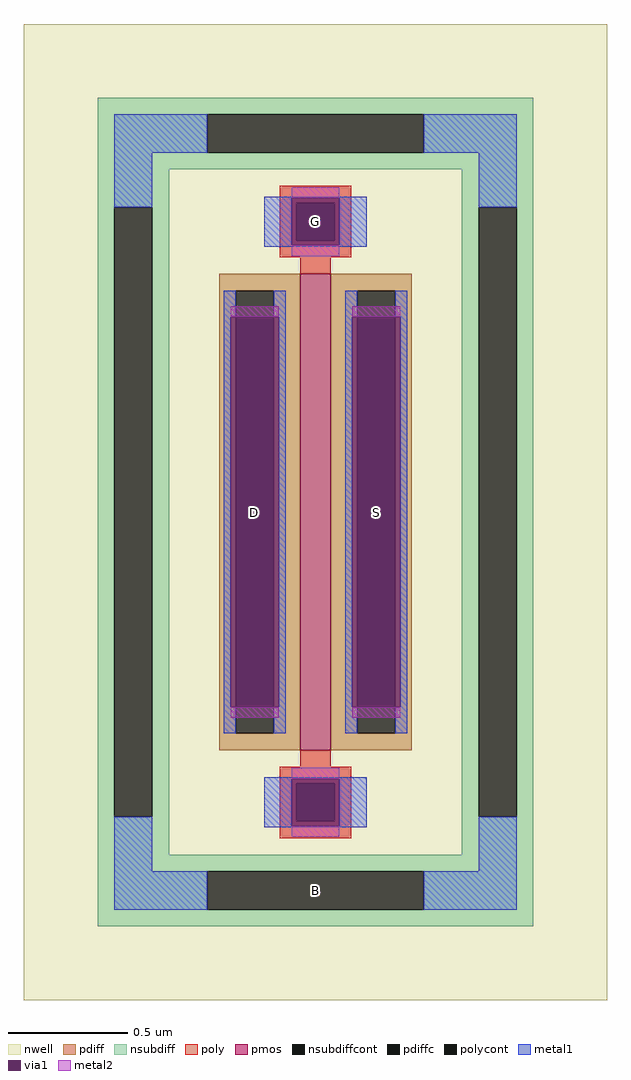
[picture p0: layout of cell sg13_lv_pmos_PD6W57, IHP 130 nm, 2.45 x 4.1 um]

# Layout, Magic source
magic
tech ihp-sg13g2
magscale 1 2
<< nwell >>
rect -245 -410 245 410
<< pmos >>
rect -13 -200 13 200
<< pdiff >>
rect -81 186 -13 200
rect -81 -186 -67 186
rect -35 -186 -13 186
rect -81 -200 -13 -186
rect 13 186 81 200
rect 13 -186 35 186
rect 67 -186 81 186
rect 13 -200 81 -186
<< pdiffc >>
rect -67 -186 -35 186
rect 35 -186 67 186
<< nsubdiff >>
rect -183 334 183 348
rect -183 302 -91 334
rect 91 302 183 334
rect -183 288 183 302
rect -183 256 -123 288
rect -183 -256 -169 256
rect -137 -256 -123 256
rect 123 256 183 288
rect -183 -288 -123 -256
rect 123 -256 137 256
rect 169 -256 183 256
rect 123 -288 183 -256
rect -183 -302 183 -288
rect -183 -334 -91 -302
rect 91 -334 183 -302
rect -183 -348 183 -334
<< nsubdiffcont >>
rect -91 302 91 334
rect -169 -256 -137 256
rect 137 -256 169 256
rect -91 -334 91 -302
<< poly >>
rect -30 260 30 274
rect -30 228 -16 260
rect 16 228 30 260
rect -30 214 30 228
rect -13 200 13 214
rect -13 -214 13 -200
rect -30 -228 30 -214
rect -30 -260 -16 -228
rect 16 -260 30 -228
rect -30 -274 30 -260
<< polycont >>
rect -16 228 16 260
rect -16 -260 16 -228
<< metal1 >>
rect -169 302 -91 334
rect 91 302 169 334
rect -169 256 -137 302
rect -43 264 43 265
rect -43 224 -20 264
rect 20 224 43 264
rect -43 223 43 224
rect 137 256 169 302
rect -77 164 -67 186
rect -35 164 -25 186
rect -77 -164 -71 164
rect -31 -164 -25 164
rect -77 -186 -67 -164
rect -35 -186 -25 -164
rect 25 164 35 186
rect 67 164 77 186
rect 25 -164 31 164
rect 71 -164 77 164
rect 25 -186 35 -164
rect 67 -186 77 -164
rect -169 -302 -137 -256
rect -43 -224 43 -223
rect -43 -264 -20 -224
rect 20 -264 43 -224
rect -43 -265 43 -264
rect 137 -302 169 -256
rect -169 -334 -91 -302
rect 91 -334 169 -302
<< via1 >>
rect -20 260 20 264
rect -20 228 -16 260
rect -16 228 16 260
rect 16 228 20 260
rect -20 224 20 228
rect -71 -164 -67 164
rect -67 -164 -35 164
rect -35 -164 -31 164
rect 31 -164 35 164
rect 35 -164 67 164
rect 67 -164 71 164
rect -20 -228 20 -224
rect -20 -260 -16 -228
rect -16 -260 16 -228
rect 16 -260 20 -228
rect -20 -264 20 -260
<< metal2 >>
rect -20 264 20 273
rect -20 215 20 224
rect -71 164 -31 173
rect -71 -173 -31 -164
rect 31 164 71 173
rect 31 -173 71 -164
rect -20 -224 20 -215
rect -20 -273 20 -264
<< labels >>
rlabel nsubdiffcont 0 -318 0 -318 0 B
port 1 nsew
rlabel pdiffc -51 0 -51 0 0 D
port 2 nsew
rlabel pdiffc 51 0 51 0 0 S
port 3 nsew
rlabel polycont 0 244 0 244 0 G
port 4 nsew
<< properties >>
string FIXED_BBOX -153 -318 153 318
string gencell sg13_lv_pmos
string library sg13g2
string parameters w 2 l 0.13 m 1 nf 1 diffcov 100 polycov 100 guard 1 glc 1 grc 1 gtc 1 gbc 1 tbcov 100 rlcov 100 topc 1 botc 1 poverlap 0 doverlap 1 lmin 0.13 wmin 0.15 class mosfet compatible {sg13_lv_pmos sg13_hv_pmos} full_metal 1 conn_gates 0 gate_ring 0 ccols 1 viasrc 100 viadrn 100 viagate 100 viagb 0 viagr 0 viagl 0 viagt 0 doports 1
<< end >>
